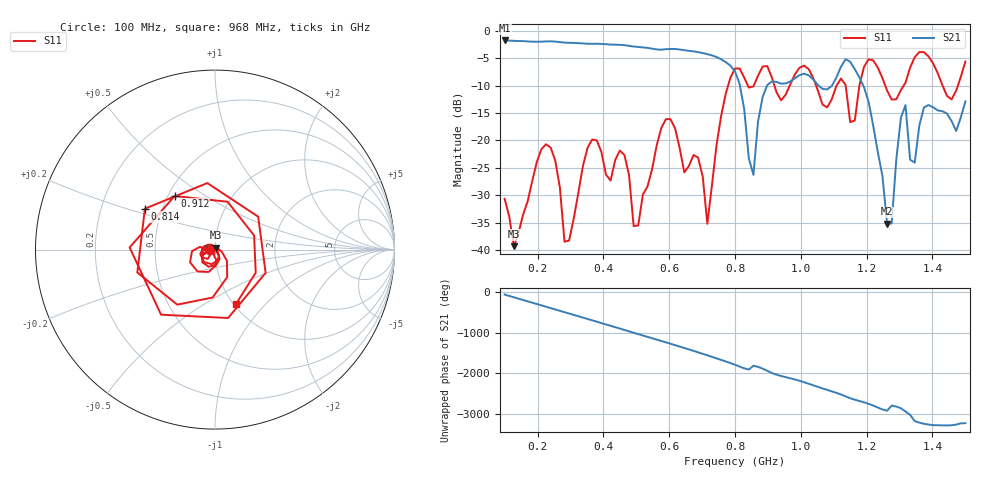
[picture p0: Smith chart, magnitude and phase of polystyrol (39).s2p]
! NanoVNA-App
! Date: 2025-09-26 09:42:11
! Start: 100MHz Stop: 1,5GHz Points: 101
! S-Parameter data: F S11 S21 S12 S22
# Hz S RI R 50
!  Frequency  S11_Real  S11_Imag  S21_Real  S21_Imag  S12_Real  S12_Imag  S22_Real  S22_Imag
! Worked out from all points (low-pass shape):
!   101 points, 100 MHz to 1.5 GHz, reference 50 ohm
!   highest |S21| = -1.79 dB at 100 MHz (marker M1); lowest = -35.2 dB at 1.262 GHz (marker M2)
!   |S21| within 3 dB of the highest: start of sweep to 743.2 MHz
!   lowest |S11| = -39.3 dB at 128 MHz (marker M3), VSWR 1.02, Z = 50.3 + j1.05 ohm
!   |S11| at or under -10 dB: start of sweep to 779.1 MHz; 1.046 GHz to 1.109 GHz (62.65 MHz wide, 5.81 % of centre); 1.256 GHz to 1.313 GHz (56.36 MHz wide, 4.39 % of centre) (the widest 3 of 7)
!   S12 and S22 are empty: the file has one direction only
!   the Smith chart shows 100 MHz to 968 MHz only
!   S11 on the Smith chart (normalised r, x): 100 MHz: 0.94, -0.01; 814 MHz: 0.40, +0.23; 912 MHz: 0.54, +0.38; 968 MHz: 1.03, -0.70
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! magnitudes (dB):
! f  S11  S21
! 100 MHz  -30.7  -1.8
! 128 MHz  -39.3  -1.9
! 212 MHz  -21.6  -2.0
! 282 MHz  -38.5  -2.2
! 338 MHz  -24.7  -2.3
! 464 MHz  -22.7  -2.6
! 506 MHz  -35.5  -3.0
! 576 MHz  -17.8  -3.5
! 688 MHz  -23.2  -3.9
! 716 MHz  -35.2  -4.3
! 800 MHz  -6.9  -7.4
! 814 MHz  -6.9  -9.7
! 856 MHz  -10.2  -26.3
! 912 MHz  -8.5  -9.3
! 968 MHz  -9.8  -9.3
! 1.038 GHz  -8.7  -8.9
! 1.178 GHz  -9.9  -8.5
! 1.262 GHz  -10.9  -35.2
! 1.276 GHz  -12.6  -35.2
! 1.318 GHz  -9.5  -13.6
! 1.346 GHz  -4.8  -24.1
! 1.5 GHz  -5.6  -12.9
